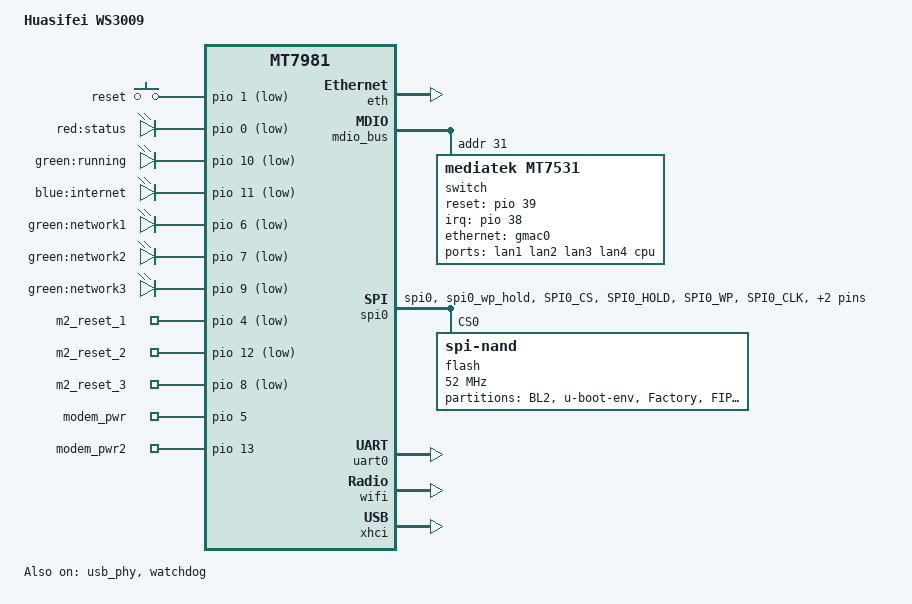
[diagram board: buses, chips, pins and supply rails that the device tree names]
// SPDX-License-Identifier: (GPL-2.0 OR MIT)

/dts-v1/;

#include <dt-bindings/gpio/gpio.h>
#include <dt-bindings/input/input.h>
#include <dt-bindings/leds/common.h>

#include "mt7981.dtsi"

/ {
	model = "Huasifei WS3009";
	compatible = "huasifei,ws3009", "mediatek,mt7981";

	aliases {
		label-mac-device = &gmac0;
		led-boot = &led_status;
		led-failsafe = &led_status;
		led-running = &led_running;
		led-upgrade = &led_status;
		serial0 = &uart0;
	};

	chosen {
		stdout-path = "serial0:115200n8";
	};

	gpio-keys {
		compatible = "gpio-keys";

		reset {
			label = "reset";
			linux,code = <KEY_RESTART>;
			gpios = <&pio 1 GPIO_ACTIVE_LOW>;
		};
	};

	leds {
		compatible = "gpio-leds";

		led_status: status {
			label = "red:status";
			gpios = <&pio 0 GPIO_ACTIVE_LOW>;
		};

		led_running: running {
			label = "green:running";
			gpios = <&pio 10 GPIO_ACTIVE_LOW>;
		};

		internet {
			label = "blue:internet";
			gpios = <&pio 11 GPIO_ACTIVE_LOW>;
		};

		network1 {
			label = "green:network1";
			gpios = <&pio 6 GPIO_ACTIVE_LOW>;
		};

		network2 {
			label = "green:network2";
			gpios = <&pio 7 GPIO_ACTIVE_LOW>;
		};

		network3 {
			label = "green:network3";
			gpios = <&pio 9 GPIO_ACTIVE_LOW>;
		};
	};

	gpio-export {
		compatible = "gpio-export";

		m2_reset_1 {
			gpio-export,name = "m2_reset_1";
			gpio-export,output = <0>;
			gpios = <&pio 4 GPIO_ACTIVE_LOW>;
		};

		m2_reset_2 {
			gpio-export,name = "m2_reset_2";
			gpio-export,output = <0>;
			gpios = <&pio 12 GPIO_ACTIVE_LOW>;
		};

		m2_reset_3 {
			gpio-export,name = "m2_reset_3";
			gpio-export,output = <0>;
			gpios = <&pio 8 GPIO_ACTIVE_LOW>;
		};

		modem_pwr {
			gpio-export,name = "modem_pwr";
			gpio-export,output = <1>;
			gpios = <&pio 5 GPIO_ACTIVE_HIGH>;
		};

		dual_sim {
			gpio-export,name = "modem_pwr2";
			gpio-export,output = <1>;
			gpios = <&pio 13 GPIO_ACTIVE_HIGH>;
		};
	};
};

&eth {
	pinctrl-names = "default";
	pinctrl-0 = <&mdio_pins>;
	status = "okay";

	gmac0: mac@0 {
		compatible = "mediatek,eth-mac";
		reg = <0>;
		phy-mode = "2500base-x";

		nvmem-cells = <&macaddr_factory_4 1>;
		nvmem-cell-names = "mac-address";

		fixed-link {
			speed = <2500>;
			full-duplex;
			pause;
		};
	};

	gmac1: mac@1 {
		compatible = "mediatek,eth-mac";
		reg = <1>;
		phy-mode = "gmii";
		phy-handle = <&int_gbe_phy>;

		nvmem-cells = <&macaddr_factory_4 2>;
		nvmem-cell-names = "mac-address";
	};
};

&mdio_bus {
	switch: switch@1f {
		compatible = "mediatek,mt7531";
		reg = <31>;
		reset-gpios = <&pio 39 GPIO_ACTIVE_HIGH>;
		interrupt-controller;
		#interrupt-cells = <1>;
		interrupt-parent = <&pio>;
		interrupts = <38 IRQ_TYPE_LEVEL_HIGH>;
	};
};

&spi0 {
	pinctrl-names = "default";
	pinctrl-0 = <&spi0_flash_pins>;
	status = "okay";

	flash@0 {
		compatible = "spi-nand";
		#address-cells = <1>;
		#size-cells = <1>;
		reg = <0>;

		spi-max-frequency = <52000000>;
		spi-tx-bus-width = <4>;
		spi-rx-bus-width = <4>;

		mediatek,nmbm;
		mediatek,bmt-max-ratio = <1>;
		mediatek,bmt-max-reserved-blocks = <64>;

		partitions {
			compatible = "fixed-partitions";
			#address-cells = <1>;
			#size-cells = <1>;

			partition@0 {
				label = "BL2";
				reg = <0x0 0x100000>;
				read-only;
			};

			partition@100000 {
				label = "u-boot-env";
				reg = <0x100000 0x80000>;
			};

			partition@180000 {
				label = "Factory";
				reg = <0x180000 0x200000>;
				read-only;

				nvmem-layout {
					compatible = "fixed-layout";
					#address-cells = <1>;
					#size-cells = <1>;

					eeprom_factory_0: eeprom@0 {
						reg = <0x0 0x1000>;
					};

					macaddr_factory_4: macaddr@4 {
						compatible = "mac-base";
						reg = <0x4 0x6>;
						#nvmem-cell-cells = <1>;
					};
				};
			};

			partition@380000 {
				label = "FIP";
				reg = <0x380000 0x200000>;
				read-only;
			};

			partition@580000 {
				label = "ubi";
				reg = <0x580000 0x6e00000>;
			};

			partition@7380000 {
				label = "config";
				reg = <0x7380000 0x80000>;
			};
		};
	};
};

&pio {
	spi0_flash_pins: spi0-pins {
		mux {
			function = "spi";
			groups = "spi0", "spi0_wp_hold";
		};
		conf-pu {
			pins = "SPI0_CS", "SPI0_HOLD", "SPI0_WP";
			drive-strength = <MTK_DRIVE_8mA>;
			bias-pull-up = <MTK_PUPD_SET_R1R0_11>;
		};

		conf-pd {
			pins = "SPI0_CLK", "SPI0_MOSI", "SPI0_MISO";
			drive-strength = <MTK_DRIVE_8mA>;
			bias-pull-down = <MTK_PUPD_SET_R1R0_11>;
		};
	};
};

&switch {
	ports {
		#address-cells = <1>;
		#size-cells = <0>;

		port@0 {
			reg = <0>;
			label = "lan1";
		};

		port@1 {
			reg = <1>;
			label = "lan2";
		};

		port@2 {
			reg = <2>;
			label = "lan3";
		};

		port@3 {
			reg = <3>;
			label = "lan4";
		};

		port@6 {
			reg = <6>;
			label = "cpu";
			ethernet = <&gmac0>;
			phy-mode = "2500base-x";

			fixed-link {
				speed = <2500>;
				full-duplex;
				pause;
			};
		};
	};
};

&uart0 {
	status = "okay";
};

&usb_phy {
	status = "okay";
};

&watchdog {
	status = "okay";
};

&wifi {
	nvmem-cells = <&eeprom_factory_0>;
	nvmem-cell-names = "eeprom";
	status = "okay";
};

&xhci {
	status = "okay";
};
